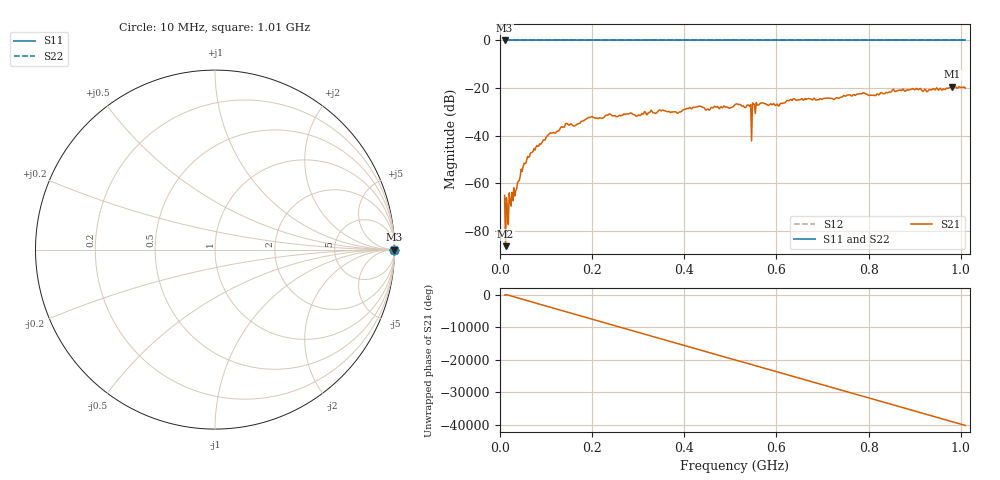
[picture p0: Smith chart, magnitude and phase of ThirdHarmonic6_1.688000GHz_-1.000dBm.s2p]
! 8/16/2025 8:16:20 PM
! C:\ANRITSUVNA\TEMP\TEMP.S2P
! CHANNEL.1
! TR.MEASUREMENT
! RAW.DATA
! RF.CORRECTION.OFF
! AVERAGING.OFF
! IF.BANDWIDTH: 5KHZ
! SWEEPTYPE:  FREQ.SWEEP(Linear)
! Reference Plane Port Info
! PORT:  PORT1  PORT2
! DISTANCE:  0  m  0  m
! TIME:  0  s  0  s
! PHASE.OFFSET:  0  deg.  0  deg.
! LOSS:  0  dB  0  dB
! REF.LOSS:  0  dB  0  dB
! REF.FREQ:  0  Hz  0  Hz
! Power Info
! POWER:  -20  dBm  -20  dBm
! EFF.POWER:  -20  dBm  -20  dBm
! SOURCE.ATTEN:  0  dB  0  dB
! TEST.ATTEN:  0  dB  0  dB
# GHZ S RI R 50.0
! FREQ.GHZ  S11RE  S11IM  S21RE  S21IM  S12RE  S12IM  S22RE  S22IM
!; PortSelection: Port_12
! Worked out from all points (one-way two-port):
!   501 points, 10 MHz to 1.01 GHz, reference 50 ohm
!   highest |S21| = -19.36 dB at 982 MHz (marker M1); lowest = -86.3 dB at 12 MHz (marker M2)
!   lowest |S11| = 0.0 dB at 10 MHz (marker M3)
!   |S11| at or under -10 dB: nowhere
!   |S22| runs from 0.0 to 0.0 dB; largest |S21 - S12| = 1.1
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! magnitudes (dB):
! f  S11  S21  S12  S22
! 10 MHz  0.0  -65.0  0.0  0.0
! 12 MHz  0.0  -86.3  0.0  0.0
! 16 MHz  0.0  -70.7  0.0  0.0
! 18 MHz  0.0  -77.3  0.0  0.0
! 20 MHz  0.0  -64.0  0.0  0.0
! 32 MHz  0.0  -65.3  0.0  0.0
! 50 MHz  0.0  -53.1  0.0  0.0
! 76 MHz  0.0  -46.0  0.0  0.0
! 108 MHz  0.0  -38.9  0.0  0.0
! 178 MHz  0.0  -33.9  0.0  0.0
! 344 MHz  0.0  -29.5  0.0  0.0
! 510 MHz  0.0  -27.0  0.0  0.0
! 540 MHz  0.0  -27.2  0.0  0.0
! 542 MHz  0.0  -27.6  0.0  0.0
! 550 MHz  0.0  -26.6  0.0  0.0
! 552 MHz  0.0  -26.8  0.0  0.0
! 568 MHz  0.0  -26.3  0.0  0.0
! 602 MHz  0.0  -26.8  0.0  0.0
! 678 MHz  0.0  -25.0  0.0  0.0
! 844 MHz  0.0  -21.7  0.0  0.0
! 982 MHz  0.0  -19.4  0.0  0.0
! 1.01 GHz  0.0  -20.0  0.0  0.0
